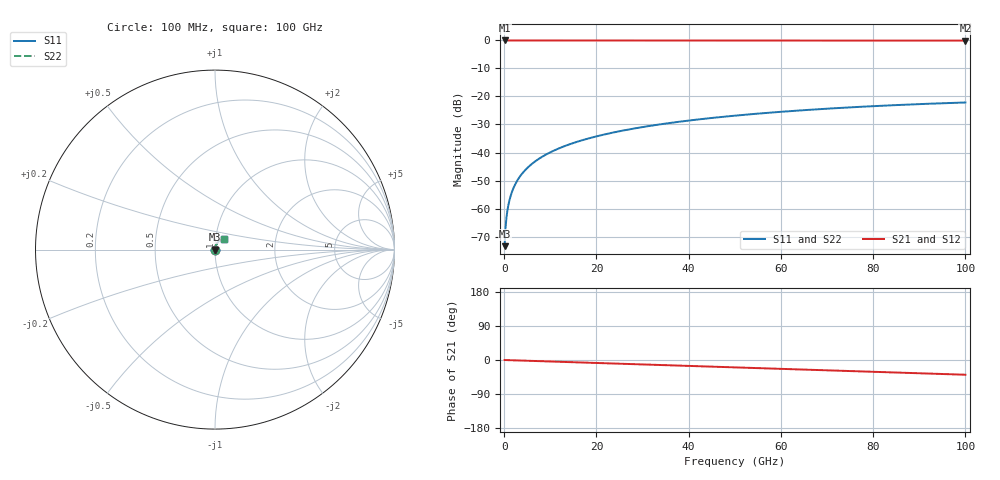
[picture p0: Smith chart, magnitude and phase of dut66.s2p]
! Touchstone file exported from HFSS 2026.1.0
!  File:  C:/ffzhzh/LocalFiles/Ansys_Project_Files/temp_train_TSV_66_1783505181_44152.aedt
!  Generated:  06:07:34 PM Jul  8, 2026
!  Design:  TSV
!  Project:  temp_train_TSV_66_1783505181_44152
! Variables:
!  h_bsmrdl = 2um
!  h_ox = 20um
!  h_rdl = 5um
!  h_sub = 77.36um
!  h_tmrdl = 5um
!  h_tsv = 77.36um
!  h_via = 3um
!  l_bsmrdl = 300um
!  l_sub = 416.92um
!  l_tmrdl = 200um
!  m_sub = 200um
!  pitch = 40.59um
!  r_tsv = 8.46um
!  s_tmrdl = 10um
!  w_bsmrdl = 18um
!  w_sub = 500um
!  w_tmrdl = 12um
!  x_tsv_center1 = 206um
!  x_tsv_center2 = 524um
!  x_tsv_center3 = 736um
!  x_tsv_center4 = 1054um
!  x_tsv_center5 = 1266um
!  x_tsv_center6 = 1584um
# GHz S MA R 50.000000
! Terminal data exported
! Port[1] = TSV1_1_T1
! Port[2] = TSV1_1_T2
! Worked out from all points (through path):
!   1000 points, 100 MHz to 100 GHz, reference 50 ohm
!   highest |S21| = 0.00 dB at 100 MHz (marker M1); lowest = -0.1 dB at 100 GHz (marker M2)
!   group delay of S21, straight-line fit = 1.08 ps
!   lowest |S11| = -73.4 dB at 100 MHz (marker M3), VSWR 1.00, Z = 50 + j0.014 ohm
!   |S11| at or under -10 dB: start of sweep to end of sweep
!   |S22| runs from -73.4 to -22.1 dB; largest |S21 - S12| = 4.4e-15
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0.1  0.0002129 41.1  0.9998 -0.0  0.9998 -0.0  0.0002129 41.1
! Gamma 0 0 0 0
! Port Impedance 50 0 50 0
0.4  0.0005691 68.1  0.9998 -0.2  0.9998 -0.2  0.0005691 68.1
0.7  0.0009131 72.8  0.9997 -0.3  0.9997 -0.3  0.0009131 72.8
0.8  0.001024 73.7  0.9997 -0.3  0.9997 -0.3  0.001024 73.7
1.1  0.00135 75.7  0.9997 -0.4  0.9997 -0.4  0.00135 75.7
1.4  0.001671 76.9  0.9996 -0.6  0.9996 -0.6  0.001671 76.9
1.9  0.002196 78.1  0.9996 -0.8  0.9996 -0.8  0.002196 78.1
2.4  0.00271 78.8  0.9995 -1.0  0.9995 -1.0  0.00271 78.8
3.1  0.003413 79.5  0.9994 -1.2  0.9994 -1.2  0.003413 79.5
3.9  0.004203 79.9  0.9994 -1.5  0.9994 -1.5  0.004203 79.9
4.9  0.00518 80.4  0.9993 -1.9  0.9993 -1.9  0.00518 80.4
6.1  0.006343 80.6  0.9992 -2.4  0.9992 -2.4  0.006343 80.6
8.9  0.009031 80.6  0.999 -3.5  0.999 -3.5  0.009031 80.6
12.4  0.01234 79.9  0.9988 -4.9  0.9988 -4.9  0.01234 79.9
16.8  0.01645 78.9  0.9986 -6.6  0.9986 -6.6  0.01645 78.9
24.2  0.02323 76.7  0.9982 -9.5  0.9982 -9.5  0.02323 76.7
33.4  0.03145 73.7  0.9977 -13.0  0.9977 -13.0  0.03145 73.6
41.2  0.03817 70.9  0.9972 -16.1  0.9972 -16.1  0.03817 70.9
50.1  0.04553 67.7  0.9967 -19.5  0.9967 -19.5  0.04553 67.7
66.7  0.0582 61.6  0.9957 -26.0  0.9957 -26.0  0.0582 61.6
83.4  0.06925 55.4  0.9947 -32.4  0.9947 -32.4  0.06926 55.3
100  0.07815 49.1  0.9937 -38.9  0.9937 -38.9  0.07815 49.1
